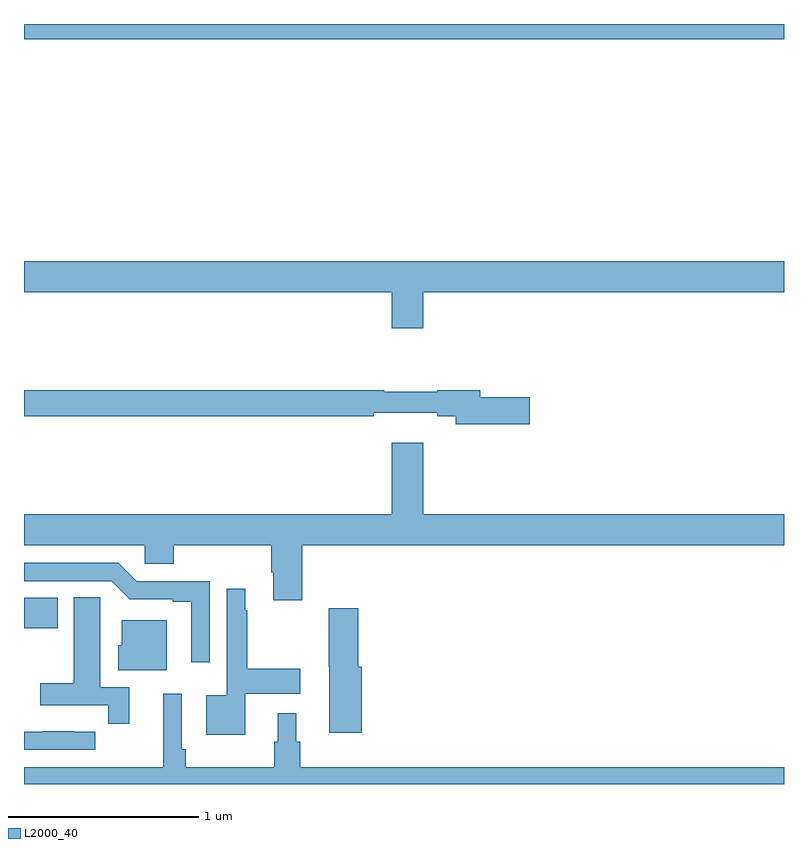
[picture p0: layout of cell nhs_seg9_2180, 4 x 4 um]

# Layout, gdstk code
import gdstk
lib = gdstk.Library(unit=1e-6, precision=1e-09)
def R(c, l, rs):  # rectangles x0, y0, x1, y1
    for r in rs: c.add(gdstk.rectangle(r[:2], r[2:], *l))
def P(c, l, *ps):  # polygons
    for p in ps: c.add(gdstk.Polygon(p, *l))
L2000_40 = (2000, 40)

nhs_seg9_2180 = lib.new_cell('nhs_seg9_2180')
R(nhs_seg9_2180, L2000_40, [(235,1193.32,235.177,1193.479), (235,1196.42,239,1196.5)])
P(nhs_seg9_2180, L2000_40, [(237.1,1195.088),(239,1195.088),(239,1195.252),(235,1195.252),(235,1195.088),(236.936,1195.088),(236.936,1194.9),(237.1,1194.9)],
  [(237.661,1194.536),(237.4,1194.536),(237.4,1194.572),(237.176,1194.572),(237.176,1194.565),(236.896,1194.565),(236.896,1194.572),(235,1194.572),(235,1194.436),(236.84,1194.436),(236.84,1194.455),(237.176,1194.455),(237.176,1194.436),(237.272,1194.436),(237.272,1194.394),(237.661,1194.394)],
  [(236.465,1193.756),(239,1193.756),(239,1193.92),(237.1,1193.92),(237.1,1194.295),(236.936,1194.295),(236.936,1193.92),(235,1193.92),(235,1193.756),(235.635,1193.756),(235.635,1193.658),(235.787,1193.658),(235.787,1193.756),(236.3,1193.756),(236.3,1193.614),(236.312,1193.614),(236.312,1193.466),(236.465,1193.466)],
  [(235.977,1193.568),(235.593,1193.568),(235.497,1193.664),(235,1193.664),(235,1193.568),(235.461,1193.568),(235.557,1193.472),(235.784,1193.472),(235.784,1193.46),(235.88,1193.46),(235.88,1193.142),(235.977,1193.142)],
  [(236.164,1192.976),(236.455,1192.976),(236.455,1193.106),(236.176,1193.106),(236.176,1193.414),(236.164,1193.414),(236.164,1193.527),(236.067,1193.527),(236.067,1192.966),(235.958,1192.966),(235.958,1192.76),(236.164,1192.76)],
  [(235.553,1193.01),(235.402,1193.01),(235.402,1193.372),(235.401,1193.372),(235.401,1193.483),(235.262,1193.483),(235.262,1193.031),(235.085,1193.031),(235.085,1192.914),(235.444,1192.914),(235.444,1192.818),(235.553,1192.818)],
  [(236.777,1193.118),(236.759,1193.118),(236.759,1193.425),(236.605,1193.425),(236.605,1193.118),(236.606,1193.118),(236.606,1192.77),(236.777,1192.77)],
  [(235.75,1193.362),(235.514,1193.362),(235.514,1193.229),(235.496,1193.229),(235.496,1193.099),(235.75,1193.099)],
  [(239,1192.588),(236.453,1192.588),(236.453,1192.722),(236.434,1192.722),(236.434,1192.873),(236.336,1192.873),(236.336,1192.722),(236.317,1192.722),(236.317,1192.588),(235.85,1192.588),(235.85,1192.684),(235.83,1192.684),(235.83,1192.975),(235.733,1192.975),(235.733,1192.588),(235,1192.588),(235,1192.5),(239,1192.5)],
  [(235.375,1192.776),(235.262,1192.776),(235.262,1192.777),(235.096,1192.777),(235.096,1192.776),(235,1192.776),(235,1192.68),(235.375,1192.68)])

lib.write_gds('nhs_seg9_2180.gds')
